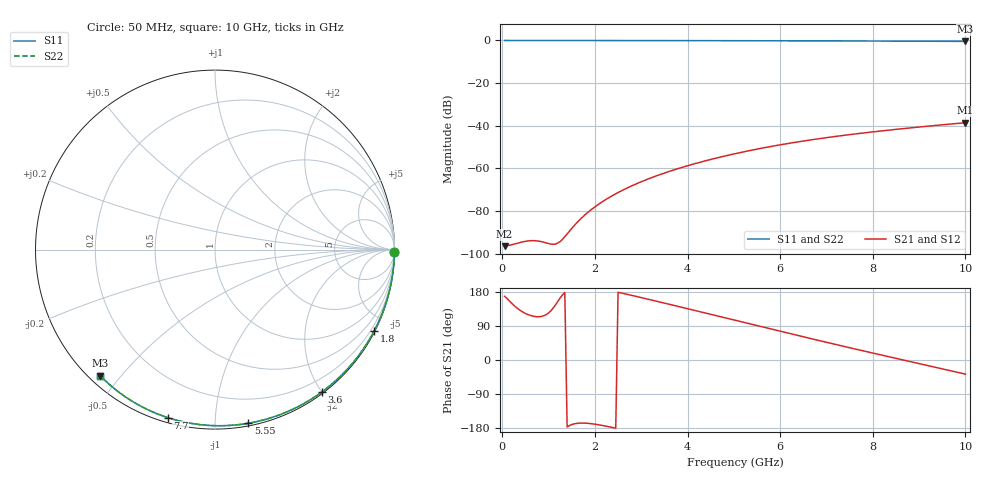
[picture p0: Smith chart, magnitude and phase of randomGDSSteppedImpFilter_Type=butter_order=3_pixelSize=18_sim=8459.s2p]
! freq	dB(S11)	phase(S11)	dB(S12)	phase(S12)
!  dB(S21)	phase(S21)	dB(S22)	phase(S22)
!S-par simulation data
#  GHz  S  DB  R 50
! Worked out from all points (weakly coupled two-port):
!   200 points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, 50 MHz to 10 GHz, reference 50 ohm
!   highest |S21| = -38.57 dB at 10 GHz (marker M1); lowest = -96.4 dB at 50 MHz (marker M2)
!   lowest |S11| = -0.4 dB at 10 GHz (marker M3), VSWR 39.08, Z = 1.53 - j22.1 ohm
!   |S11| at or under -10 dB: nowhere
!   |S22| runs from -0.4 to 0.0 dB; largest |S21 - S12| = 0
!   S11 on the Smith chart (normalised r, x): 50 MHz: open; 1.8 GHz: 0.04, -4.15; 3.6 GHz: 0.02, -2.00; 5.55 GHz: 0.02, -1.21; 7.7 GHz: 0.02, -0.76; 10 GHz: 0.03, -0.44
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0.05  -0.00 -0.8  -96.43 168.0  -96.43 168.0  -0.00 -0.8
0.9  -0.01 -13.7  -94.61 117.1  -94.61 117.1  -0.01 -13.7
1.75  -0.03 -26.4  -82.45 -166.5  -82.45 -166.5  -0.03 -26.4
1.8  -0.03 -27.1  -81.47 -166.7  -81.47 -166.7  -0.03 -27.1
1.85  -0.04 -27.9  -80.55 -167.2  -80.55 -167.2  -0.04 -27.9
1.9  -0.04 -28.6  -79.66 -167.8  -79.66 -167.8  -0.04 -28.6
2.05  -0.04 -30.8  -77.22 -170.4  -77.22 -170.4  -0.04 -30.8
2.25  -0.04 -33.7  -74.36 -174.8  -74.36 -174.8  -0.04 -33.7
2.45  -0.05 -36.6  -71.86 -179.9  -71.86 -179.9  -0.05 -36.6
2.65  -0.05 -39.5  -69.63 174.6  -69.63 174.6  -0.05 -39.5
3  -0.06 -44.5  -66.23 164.7  -66.23 164.7  -0.06 -44.6
3.4  -0.07 -50.2  -62.91 153.1  -62.91 153.1  -0.07 -50.2
3.6  -0.07 -53.0  -61.43 147.2  -61.43 147.2  -0.07 -53.0
4.3  -0.09 -62.6  -56.91 126.5  -56.91 126.5  -0.09 -62.7
5.05  -0.11 -72.7  -52.96 104.3  -52.96 104.3  -0.11 -72.7
5.55  -0.13 -79.2  -50.72 89.4  -50.72 89.4  -0.13 -79.2
6.1  -0.15 -86.2  -48.55 73.0  -48.55 73.0  -0.15 -86.2
6.7  -0.18 -93.6  -46.49 55.4  -46.49 55.4  -0.18 -93.7
7.7  -0.24 -105.8  -43.62 26.7  -43.62 26.7  -0.24 -105.8
8.35  -0.29 -113.5  -42.03 8.6  -42.03 8.6  -0.29 -113.5
9.2  -0.37 -123.3  -40.16 -14.9  -40.16 -14.9  -0.37 -123.3
10  -0.44 -132.3  -38.57 -37.4  -38.57 -37.4  -0.44 -132.3
